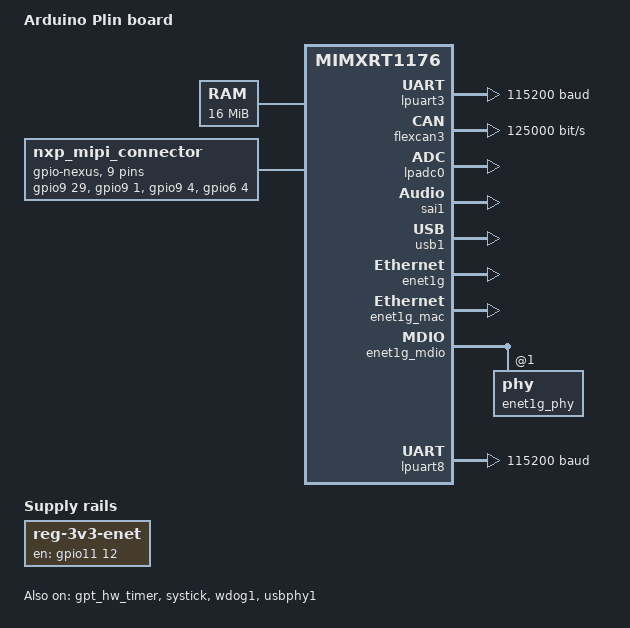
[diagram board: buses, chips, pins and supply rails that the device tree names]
/*
 * Copyright 2021-22, NXP
 *
 * SPDX-License-Identifier: Apache-2.0
 */

/dts-v1/;

#include <nxp/nxp_rt11xx_cm7.dtsi>
#include "arduino_plin.dtsi"

/ {
	model = "Arduino Plin board";
	compatible = "nxp,mimxrt1176";

	aliases {
		mipi-dsi = &mipi_dsi;
		watchdog0 = &wdog1;
	};

	chosen {
		/* zephyr,sram = &sdram0; */
		zephyr,sram = &ocram;
		zephyr,dtcm = &dtcm;
		zephyr,itcm = &itcm;
		zephyr,console = &lpuart3;
		zephyr,shell-uart = &lpuart3;
		zephyr,canbus = &flexcan3;
		zephyr,flash-controller = &gd25b128;
		zephyr,flash = &gd25b128;
		zephyr,code-partition = &slot0_partition;
		zephyr,cpu1-region = &ocram;
		zephyr,ipc = &mailbox_a;
		zephyr,bt-hci = &bt_hci_uart;
		zephyr,entropy = &rng_hci;
	};

	sdram0: memory@80000000 {
		/* GigaDevice GD25BI128 */
		device_type = "memory";
		reg = <0x80000000 DT_SIZE_M(16)>;
	};

	rng_hci: entropy_bt_hci {
		compatible = "zephyr,bt-hci-entropy";
		status = "okay";
	};

	/* This regulator controls the VDD_3V3_ENET supply. */
	reg-3v3-enet {
		compatible = "regulator-fixed";
		regulator-name = "reg-3v3-enet";
		enable-gpios = <&gpio11 12 GPIO_ACTIVE_HIGH>;
		startup-delay-us = <2000>;
		regulator-always-on;
		status = "okay";
	};

	/*
	 * This node describes the GPIO pins of the MIPI FPC interface,
	 * J48 on the EVK. This interface is standard to several
	 * NXP EVKs, and is used with several MIPI displays
	 * (available as zephyr shields)
	 */
	nxp_mipi_connector: mipi-connector {
		compatible = "gpio-nexus";
		#gpio-cells = <2>;
		gpio-map-mask = <0xffffffff 0xffffffc0>;
		gpio-map-pass-thru = <0 0x3f>;
		gpio-map =	<0  0 &gpio9 29 0>,	/* Pin 1, LEDK */
				<21 0 &gpio9 1  0>,	/* Pin 21, RESET */
				<22 0 &gpio9 4  0>,	/* Pin 22, LPTE */
				<26 0 &gpio6 4  0>,	/* Pin 26, CTP_I2C SDA */
				<27 0 &gpio6 5  0>,	/* Pin 27, CTP_I2C SCL */
				<28 0 &gpio9 0  0>,	/* Pin 28, CTP_RST */
				<29 0 &gpio2 31 0>,	/* Pin 29, CTP_INT */
				<32 0 &gpio11 16 0>,	/* Pin 32, PWR_EN */
				<34 0 &gpio9 29 0>;	/* Pin 34, BL_PWM */
	};
};

zephyr_lcdif: &lcdif {};

zephyr_mipi_dsi: &mipi_dsi {
	dphy-ref-frequency = <24000000>;
};

&lpuart3 {
	status = "okay";
	current-speed = <115200>;
};

&flexcan3 {
	status = "okay";
	bus-speed = <125000>;

	can-transceiver {
		max-bitrate = <5000000>;
	};
};

nxp_mipi_i2c: &lpi2c5 {
	pinctrl-0 = <&pinmux_lpi2c5>;
	pinctrl-names = "default";
	#address-cells = <1>;
	#size-cells = <0>;
};

&lpadc0 {
	status = "okay";
};

&edma0 {
	status = "okay";
};

/* GPT and Systick are enabled. If power management is enabled, the GPT
 * timer will be used instead of systick, as allows the core clock to
 * be gated.
 */
&gpt_hw_timer {
	status = "okay";
};

&systick {
	status = "okay";
};

&wdog1 {
	status = "okay";
};

&sai1 {
	status = "okay";
};

zephyr_udc0: &usb1 {
	status = "okay";
	phy_handle = <&usbphy1>;
	cdc_acm_uart0: cdc_acm_uart0 {
		compatible = "zephyr,cdc-acm-uart";
	};
};

&usbphy1 {
	status = "okay";
	tx-d-cal = <7>;
	tx-cal-45-dp-ohms = <6>;
	tx-cal-45-dm-ohms = <6>;
};

&enet1g {
	status = "okay";
};

&enet1g_mac {
	status = "okay";
};

&enet1g_mdio {
	status = "okay";
	enet1g_phy: phy@1 {
		status = "okay";
	};
};

&enet1g_ptp_clock {
	status = "okay";
};

&mailbox_a {
	status = "okay";
};

&lpuart8 {
	pinctrl-0 = <&pinmux_lpuart8>;
	pinctrl-names = "default";
	status = "okay";
	current-speed = <115200>;

	bt_hci_uart: bt_hci_uart {
		compatible = "zephyr,bt-hci-uart";

		bt_module {
			compatible = "nxp,bt-hci-uart";
			sdio-reset-gpios = <&gpio3 6 GPIO_ACTIVE_HIGH>;
			w-disable-gpios = <&gpio3 6 GPIO_ACTIVE_HIGH>;
			hci-operation-speed = <115200>;
			hw-flow-control;
			fw-download-primary-speed = <115200>;
		};
	};
};
